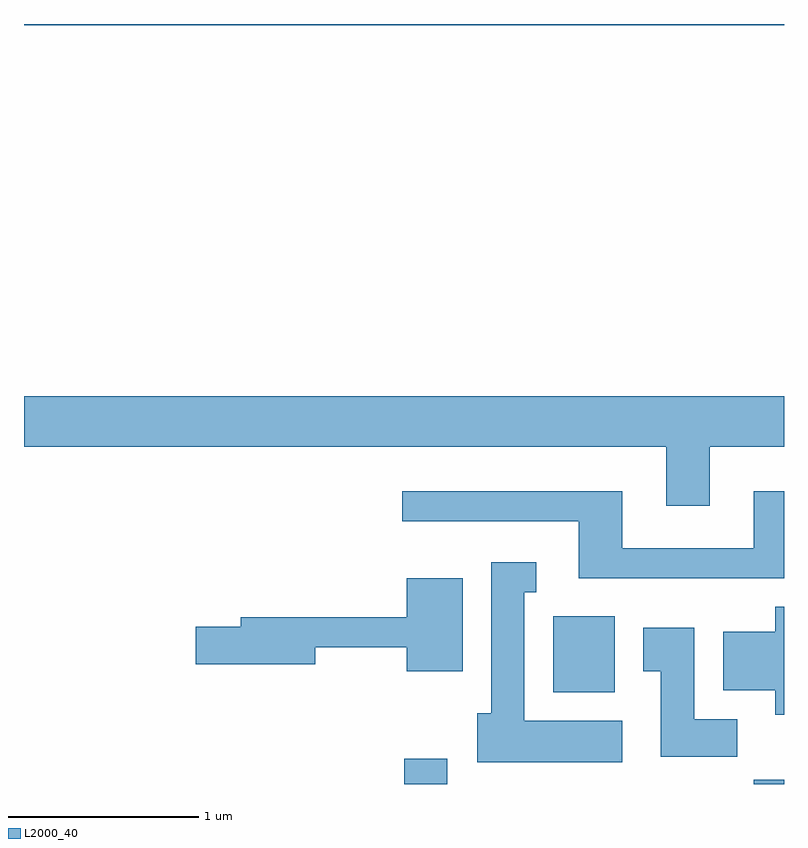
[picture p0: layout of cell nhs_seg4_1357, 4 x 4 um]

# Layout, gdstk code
import gdstk
lib = gdstk.Library(unit=1e-6, precision=1e-09)
def R(c, l, rs):  # rectangles x0, y0, x1, y1
    for r in rs: c.add(gdstk.rectangle(r[:2], r[2:], *l))
def P(c, l, *ps):  # polygons
    for p in ps: c.add(gdstk.Polygon(p, *l))
L2000_40 = (2000, 40)

nhs_seg4_1357 = lib.new_cell('nhs_seg4_1357')
R(nhs_seg4_1357, L2000_40, [(225.611,1383.982,225.839,1384.114), (227.451,1383.982,227.611,1384.004), (226.396,1384.466,226.719,1384.864), (223.611,1387.976,227.611,1387.982)])
P(nhs_seg4_1357, L2000_40, [(227.219,1385.756),(227.611,1385.756),(227.611,1386.024),(223.611,1386.024),(223.611,1385.756),(226.991,1385.756),(226.991,1385.446),(227.219,1385.446)],
  [(227.611,1385.524),(227.451,1385.524),(227.451,1385.224),(226.759,1385.224),(226.759,1385.524),(225.603,1385.524),(225.603,1385.366),(226.531,1385.366),(226.531,1385.066),(227.611,1385.066)],
  [(226.759,1384.314),(226.244,1384.314),(226.244,1384.991),(226.308,1384.991),(226.308,1385.149),(226.071,1385.149),(226.071,1384.354),(225.996,1384.354),(225.996,1384.096),(226.759,1384.096)],
  [(225.919,1385.064),(225.626,1385.064),(225.626,1384.859),(224.751,1384.859),(224.751,1384.809),(224.516,1384.809),(224.516,1384.611),(225.144,1384.611),(225.144,1384.701),(225.626,1384.701),(225.626,1384.576),(225.919,1384.576)],
  [(227.611,1384.914),(227.566,1384.914),(227.566,1384.784),(227.291,1384.784),(227.291,1384.476),(227.566,1384.476),(227.566,1384.346),(227.611,1384.346)],
  [(227.364,1384.324),(227.139,1384.324),(227.139,1384.804),(226.871,1384.804),(226.871,1384.576),(226.961,1384.576),(226.961,1384.126),(227.364,1384.126)])

lib.write_gds('nhs_seg4_1357.gds')
